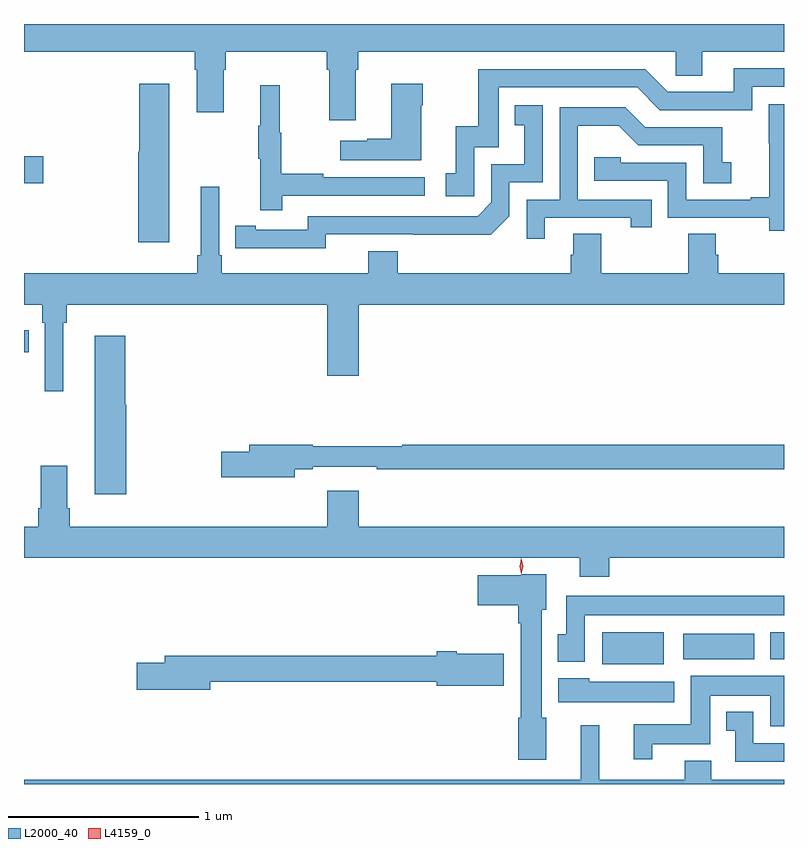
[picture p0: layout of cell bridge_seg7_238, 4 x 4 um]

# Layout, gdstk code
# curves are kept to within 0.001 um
import gdstk
lib = gdstk.Library(unit=1e-6, precision=1e-09)
def R(c, l, rs):  # rectangles x0, y0, x1, y1
    for r in rs: c.add(gdstk.rectangle(r[:2], r[2:], *l))
def P(c, l, *ps):  # polygons
    for p in ps: c.add(gdstk.Polygon(p, *l))
L2000_40 = (2000, 40)
L4159_0 = (4159, 0)

bridge_seg7_238 = lib.new_cell('bridge_seg7_238')
R(bridge_seg7_238, L2000_40, [(322.298,1048.007,322.621,1048.177), (322.725,1048.034,323.098,1048.168), (323.183,1048.034,323.255,1048.177), (319.255,1049.65,319.28,1049.766), (319.255,1050.538,319.357,1050.68)])
P(bridge_seg7_238, L2000_40, [(321.001,1051.136),(321.014,1051.136),(321.014,1051.232),(322.686,1051.232),(322.686,1051.105),(322.825,1051.105),(322.825,1051.232),(323.255,1051.232),(323.255,1051.377),(319.255,1051.377),(319.255,1051.232),(320.153,1051.232),(320.153,1051.136),(320.165,1051.136),(320.165,1050.912),(320.305,1050.912),(320.305,1051.136),(320.318,1051.136),(320.318,1051.232),(320.849,1051.232),(320.849,1051.136),(320.861,1051.136),(320.861,1050.87),(321.001,1050.87)],
  [(321.624,1050.729),(321.753,1050.729),(321.753,1051.044),(322.482,1051.044),(322.602,1050.924),(323.088,1050.924),(323.088,1051.047),(323.255,1051.047),(323.255,1051.143),(322.991,1051.143),(322.991,1051.02),(322.644,1051.02),(322.524,1051.14),(321.645,1051.14),(321.645,1050.838),(321.527,1050.838),(321.527,1050.591),(321.474,1050.591),(321.474,1050.471),(321.624,1050.471)],
  [(320.02,1051.063),(319.862,1051.063),(319.862,1050.705),(319.856,1050.705),(319.856,1050.228),(320.02,1050.228)],
  [(321.346,1050.95),(321.354,1050.95),(321.354,1051.063),(321.188,1051.063),(321.188,1050.773),(321.062,1050.773),(321.062,1050.763),(320.919,1050.763),(320.919,1050.659),(321.346,1050.659)],
  [(320.615,1050.474),(321.364,1050.474),(321.364,1050.57),(320.831,1050.57),(320.831,1050.59),(320.608,1050.59),(320.608,1050.804),(320.6,1050.804),(320.6,1051.054),(320.498,1051.054),(320.498,1050.841),(320.487,1050.841),(320.487,1050.667),(320.498,1050.667),(320.498,1050.396),(320.615,1050.396)],
  [(323.255,1050.955),(323.176,1050.955),(323.176,1050.749),(323.177,1050.749),(323.177,1050.466),(323.081,1050.466),(323.081,1050.453),(322.74,1050.453),(322.74,1050.648),(322.395,1050.648),(322.395,1050.675),(322.255,1050.675),(322.255,1050.552),(322.644,1050.552),(322.644,1050.357),(323.178,1050.357),(323.178,1050.289),(323.255,1050.289)],
  [(320.844,1050.27),(321.712,1050.269),(321.81,1050.366),(321.81,1050.543),(321.984,1050.543),(321.984,1050.949),(321.838,1050.949),(321.838,1050.843),(321.887,1050.843),(321.887,1050.639),(321.714,1050.639),(321.714,1050.438),(321.642,1050.366),(320.748,1050.366),(320.748,1050.294),(320.476,1050.294),(320.476,1050.314),(320.368,1050.314),(320.368,1050.198),(320.844,1050.197)],
  [(321.997,1050.357),(322.448,1050.357),(322.448,1050.306),(322.559,1050.306),(322.559,1050.453),(322.17,1050.453),(322.17,1050.842),(322.384,1050.842),(322.488,1050.738),(322.83,1050.738),(322.83,1050.54),(322.978,1050.54),(322.978,1050.649),(322.929,1050.649),(322.929,1050.834),(322.525,1050.834),(322.42,1050.939),(322.074,1050.939),(322.074,1050.453),(321.9,1050.453),(321.9,1050.246),(321.997,1050.246)],
  [(319.462,1049.804),(319.481,1049.804),(319.481,1049.9),(320.852,1049.9),(320.852,1049.526),(321.016,1049.526),(321.016,1049.9),(323.255,1049.9),(323.255,1050.064),(322.91,1050.064),(322.91,1050.162),(322.897,1050.162),(322.897,1050.272),(322.75,1050.272),(322.75,1050.064),(322.293,1050.064),(322.293,1050.272),(322.145,1050.272),(322.145,1050.162),(322.133,1050.162),(322.133,1050.064),(321.221,1050.064),(321.221,1050.181),(321.068,1050.181),(321.068,1050.064),(320.297,1050.064),(320.297,1050.16),(320.283,1050.16),(320.283,1050.52),(320.186,1050.52),(320.186,1050.16),(320.167,1050.16),(320.167,1050.064),(319.255,1050.064),(319.255,1049.9),(319.352,1049.9),(319.352,1049.804),(319.365,1049.804),(319.365,1049.445),(319.462,1049.445)],
  [(319.792,1049.373),(319.787,1049.373),(319.787,1049.737),(319.628,1049.737),(319.628,1048.902),(319.792,1048.902)],
  [(320.68,1049.034),(320.776,1049.034),(320.776,1049.046),(321.112,1049.046),(321.112,1049.034),(323.255,1049.034),(323.255,1049.162),(321.245,1049.162),(321.245,1049.155),(320.776,1049.155),(320.776,1049.162),(320.441,1049.162),(320.441,1049.126),(320.292,1049.126),(320.292,1048.991),(320.68,1048.991)],
  [(322.334,1048.568),(323.255,1048.568),(323.255,1048.732),(321.016,1048.732),(321.016,1048.921),(320.852,1048.921),(320.852,1048.732),(319.496,1048.732),(319.496,1048.828),(319.483,1048.828),(319.483,1049.053),(319.343,1049.053),(319.343,1048.828),(319.331,1048.828),(319.331,1048.732),(319.255,1048.732),(319.255,1048.568),(322.181,1048.568),(322.181,1048.469),(322.334,1048.469)],
  [(322.003,1047.726),(321.979,1047.726),(321.979,1048.293),(322.003,1048.293),(322.003,1048.48),(321.873,1048.48),(321.873,1048.477),(321.642,1048.477),(321.642,1048.319),(321.857,1048.319),(321.857,1048.223),(321.869,1048.223),(321.869,1047.726),(321.857,1047.726),(321.857,1047.504),(322.003,1047.504)],
  [(322.206,1048.265),(323.255,1048.265),(323.255,1048.369),(322.109,1048.369),(322.109,1048.164),(322.064,1048.164),(322.064,1048.02),(322.206,1048.02)],
  [(320.236,1047.916),(321.428,1047.916),(321.428,1047.893),(321.781,1047.893),(321.781,1048.063),(321.532,1048.063),(321.532,1048.076),(321.428,1048.076),(321.428,1048.052),(319.997,1048.052),(319.997,1048.016),(319.848,1048.016),(319.848,1047.874),(320.236,1047.874)],
  [(322.561,1047.587),(322.867,1047.587),(322.867,1047.842),(323.183,1047.842),(323.183,1047.681),(323.255,1047.681),(323.255,1047.946),(322.763,1047.946),(322.763,1047.691),(322.463,1047.691),(322.463,1047.507),(322.561,1047.507)],
  [(322.678,1047.916),(322.23,1047.916),(322.23,1047.934),(322.068,1047.934),(322.068,1047.806),(322.678,1047.806)],
  [(323.255,1047.591),(323.094,1047.591),(323.094,1047.757),(322.952,1047.757),(322.952,1047.657),(322.998,1047.657),(322.998,1047.495),(323.255,1047.495)],
  [(323.255,1047.4),(322.873,1047.4),(322.873,1047.499),(322.733,1047.499),(322.733,1047.4),(322.283,1047.4),(322.283,1047.685),(322.184,1047.685),(322.184,1047.4),(319.255,1047.4),(319.255,1047.377),(323.255,1047.377)])
P(bridge_seg7_238, L4159_0, [(321.873,1048.483),(321.873,1048.483),(321.863,1048.523),(321.873,1048.564),(321.873,1048.564),(321.873,1048.564),(321.883,1048.523),(321.873,1048.483)])

lib.write_gds('bridge_seg7_238.gds')
